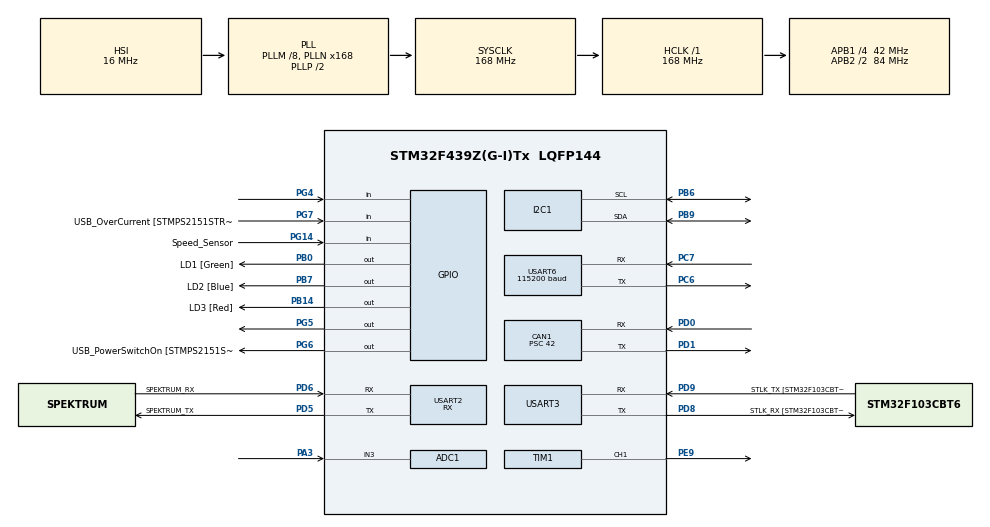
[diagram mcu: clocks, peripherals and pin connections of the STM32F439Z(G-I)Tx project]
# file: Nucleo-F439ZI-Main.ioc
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ADC1.Channel-3\#ChannelRegularConversion=ADC_CHANNEL_3
ADC1.NbrOfConversionFlag=1
ADC1.Rank-3\#ChannelRegularConversion=1
ADC1.SamplingTime-3\#ChannelRegularConversion=ADC_SAMPLETIME_3CYCLES
ADC1.master=1
CAN1.ABOM=ENABLE
CAN1.AWUM=ENABLE
CAN1.BS1=CAN_BS1_11TQ
CAN1.BS2=CAN_BS2_8TQ
CAN1.CalculateBaudRate=50000
CAN1.CalculateTimeBit=20000
CAN1.CalculateTimeQuantum=1000.0
CAN1.NART=ENABLE
CAN1.Prescaler=42
CAN1.TTCM=DISABLE
Mcu.Family=STM32F4
Mcu.Name=STM32F439Z(G-I)Tx
Mcu.Package=LQFP144
NVIC.CAN1_RX0_IRQn=true\:0\:0\:false\:false\:true\:true\:true\:true
NVIC.CAN1_RX1_IRQn=true\:0\:0\:false\:false\:true\:true\:true\:true
NVIC.CAN1_SCE_IRQn=true\:0\:0\:false\:false\:true\:true\:true\:true
NVIC.CAN1_TX_IRQn=true\:0\:0\:false\:false\:true\:true\:true\:true
NVIC.PriorityGroup=NVIC_PRIORITYGROUP_4
NVIC.RCC_IRQn=true\:0\:0\:false\:false\:true\:true\:false\:true
NVIC.TIM1_TRG_COM_TIM11_IRQn=true\:0\:0\:false\:false\:true\:true\:true\:true
NVIC.TIM1_UP_TIM10_IRQn=true\:0\:0\:false\:false\:true\:true\:true\:true
NVIC.TIM6_DAC_IRQn=true\:0\:0\:false\:false\:true\:true\:true\:true
NVIC.TIM7_IRQn=true\:0\:0\:false\:false\:true\:true\:true\:true
NVIC.USART2_IRQn=true\:1\:0\:true\:false\:true\:true\:true\:true
NVIC.USART6_IRQn=true\:0\:0\:false\:false\:true\:true\:true\:true
PA1.GPIO_Label=RMII_REF_CLK [LAN8742A-CZ-TR_REFCLK0]
PA1.Signal=ETH_REF_CLK
PA10.GPIO_Label=USB_ID
PA10.Signal=USB_OTG_FS_ID
PA11.GPIO_Label=USB_DM
PA11.Signal=USB_OTG_FS_DM
PA12.GPIO_Label=USB_DP
PA12.Signal=USB_OTG_FS_DP
PA13.GPIO_Label=TMS
PA13.Mode=Serial_Wire
PA13.Signal=SYS_JTMS-SWDIO
PA14.GPIO_Label=TCK
PA14.Mode=Serial_Wire
PA14.Signal=SYS_JTCK-SWCLK
PA2.GPIO_Label=RMII_MDIO [LAN8742A-CZ-TR_MDIO]
PA2.Signal=ETH_MDIO
PA3.Signal=ADCx_IN3
PA7.GPIO_Label=RMII_CRS_DV [LAN8742A-CZ-TR_CRS_DV]
PA7.Signal=ETH_CRS_DV
PA8.GPIO_Label=USB_SOF [TP1]
PA8.Signal=USB_OTG_FS_SOF
PA9.GPIO_Label=USB_VBUS
PA9.Signal=USB_OTG_FS_VBUS
PB0.GPIO_Label=LD1 [Green]
PB0.Signal=GPIO_Output
PB13.GPIO_Label=RMII_TXD1 [LAN8742A-CZ-TR_TXD1]
PB13.Signal=ETH_TXD1
PB14.GPIO_Label=LD3 [Red]
PB14.Signal=GPIO_Output
PB6.Mode=I2C
PB6.Signal=I2C1_SCL
PB7.GPIO_Label=LD2 [Blue]
PB7.Signal=GPIO_Output
PB9.Mode=I2C
PB9.Signal=I2C1_SDA
PC1.GPIO_Label=RMII_MDC [LAN8742A-CZ-TR_MDC]
PC1.Signal=ETH_MDC
PC14/OSC32_IN.Mode=LSE-External-Oscillator
PC14/OSC32_IN.Signal=RCC_OSC32_IN
PC15/OSC32_OUT.Mode=LSE-External-Oscillator
PC15/OSC32_OUT.Signal=RCC_OSC32_OUT
PC4.GPIO_Label=RMII_RXD0 [LAN8742A-CZ-TR_RXD0]
PC4.Signal=ETH_RXD0
PC5.GPIO_Label=RMII_RXD1 [LAN8742A-CZ-TR_RXD1]
PC5.Signal=ETH_RXD1
PC6.Mode=Asynchronous
PC6.Signal=USART6_TX
PC7.Mode=Asynchronous
PC7.Signal=USART6_RX
PD0.Mode=CAN_Activate
PD0.Signal=CAN1_RX
PD1.Mode=CAN_Activate
PD1.Signal=CAN1_TX
PD5.GPIO_Label=SPEKTRUM_TX
PD5.Mode=Asynchronous
PD5.Signal=USART2_TX
PD6.GPIO_Label=SPEKTRUM_RX
PD6.Mode=Asynchronous
PD6.Signal=USART2_RX
PD8.GPIO_Label=STLK_RX [STM32F103CBT6_PA3]
PD8.Mode=Asynchronous
PD8.Signal=USART3_TX
PD9.GPIO_Label=STLK_TX [STM32F103CBT6_PA2]
PD9.Mode=Asynchronous
PD9.Signal=USART3_RX
PE9.Signal=S_TIM1_CH1
PG11.GPIO_Label=RMII_TX_EN [LAN8742A-CZ-TR_TXEN]
PG11.Signal=ETH_TX_EN
PG13.GPIO_Label=RMII_TXD0 [LAN8742A-CZ-TR_TXD0]
PG13.Signal=ETH_TXD0
PG14.GPIO_Label=Speed_Sensor
PG14.Signal=GPIO_Input
PG4.Signal=GPIO_Input
PG5.Signal=GPIO_Output
PG6.GPIO_Label=USB_PowerSwitchOn [STMPS2151STR_EN]
PG6.Signal=GPIO_Output
PG7.GPIO_Label=USB_OverCurrent [STMPS2151STR_FAULT]
PG7.Signal=GPIO_Input
PH0/OSC_IN.GPIO_Label=MCO [STM32F103CBT6_PA8]
PH0/OSC_IN.Mode=HSE-External-Clock-Source
PH0/OSC_IN.Signal=RCC_OSC_IN
PH1/OSC_OUT.Mode=HSE-External-Clock-Source
PH1/OSC_OUT.Signal=RCC_OSC_OUT
ProjectManager.HeapSize=0x200
ProjectManager.StackSize=0x400
ProjectManager.TargetToolchain=STM32CubeIDE
RCC.48MHZClocksFreq_Value=48000000
RCC.AHBFreq_Value=168000000
RCC.APB1CLKDivider=RCC_HCLK_DIV4
RCC.APB1Freq_Value=42000000
RCC.APB1TimFreq_Value=84000000
RCC.APB2CLKDivider=RCC_HCLK_DIV2
RCC.APB2Freq_Value=84000000
RCC.APB2TimFreq_Value=168000000
RCC.CortexFreq_Value=168000000
RCC.HCLKFreq_Value=168000000
RCC.HSE_VALUE=8000000
RCC.HSI_VALUE=16000000
RCC.PLLM=8
RCC.PLLMUL=RCC_PLL_MUL9
RCC.PLLN=168
RCC.PLLQ=7
RCC.PRESCALERUSB=RCC_USBCLKSOURCE_PLL_DIV1_5
RCC.SYSCLKFreq_VALUE=168000000
RCC.SYSCLKSource=RCC_SYSCLKSOURCE_PLLCLK
RCC.SYSCLKSourceVirtual=RCC_SYSCLKSOURCE_PLLCLK
RCC.USBFreq_Value=48000000
RCC.VCOOutputFreq_Value=336000000
SH.ADCx_IN3.0=ADC1_IN3,IN3
SH.S_TIM1_CH1.0=TIM1_CH1,PWM Generation1 CH1
TIM1.Channel-PWM\ Generation1\ CH1=TIM_CHANNEL_1
TIM1.Period=200-1
TIM1.Prescaler=3*168-1
TIM10.Period=50000
TIM10.Prescaler=336-1
TIM11.Period=25000
TIM11.Prescaler=1344-1
TIM6.AutoReloadPreload=TIM_AUTORELOAD_PRELOAD_DISABLE
TIM6.Period=25000
TIM6.Prescaler=168-1
TIM7.Period=25000
TIM7.Prescaler=168-1
USART2.Mode=MODE_RX
USART2.VirtualMode=VM_ASYNC
USART3.VirtualMode=VM_ASYNC
USART6.BaudRate=115200
USART6.VirtualMode=VM_ASYNC
VP_TIM10_VS_ClockSourceINT.Mode=Enable_Timer
VP_TIM11_VS_ClockSourceINT.Mode=Enable_Timer
VP_TIM6_VS_ClockSourceINT.Mode=Enable_Timer
VP_TIM7_VS_ClockSourceINT.Mode=Enable_Timer
board=NUCLEO-F439ZI

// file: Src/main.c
/* USER CODE BEGIN Header */
/**
  ******************************************************************************
  * @file           : main.c
  * @brief          : Main program body
  ******************************************************************************
  * @attention
  *
  * Copyright (c) 2022 STMicroelectronics.
  * All rights reserved.
  *
  * This software is licensed under terms that can be found in the LICENSE file
  * in the root directory of this software component.
  * If no LICENSE file comes with this software, it is provided AS-IS.
  *
  ******************************************************************************
  */
/* USER CODE END Header */
#include "main.h"

/* USER CODE BEGIN Includes */
#include "app.h"
#include "uart_serial.h"

/* USER CODE END Includes */

/* USER CODE BEGIN PD */

void compute_auto_brake();

/* USER CODE END PD */

ADC_HandleTypeDef hadc1;

CAN_HandleTypeDef hcan1;

I2C_HandleTypeDef hi2c1;

TIM_HandleTypeDef htim1;
TIM_HandleTypeDef htim6;
TIM_HandleTypeDef htim7;
TIM_HandleTypeDef htim10;
TIM_HandleTypeDef htim11;

UART_HandleTypeDef huart2;
UART_HandleTypeDef huart3;
UART_HandleTypeDef huart6;

/* USER CODE BEGIN PV */
int gokart_mode = 0;
int motor_direction = 0;

float throttle_desired = 0.0;

float speed_measured = 0.0;
float speed_desired = 0.0;

float steer_desired = 0.0;
float steer_measured = 0.0;
float steer_max = 55.0;

float steering_wheel = 0.0;

float brake_desired = 0.0;
float brake_measured = 0.0;
float brake_max = 150.0;

app_state_t app;
app_state_t *main_app;

CAN_TxHeaderTypeDef TxHeader;
CAN_RxHeaderTypeDef RxHeader;

uint32_t TxMailbox;

uint8_t CAN_TxData[6];
uint8_t CAN_RxData[6];

//char UART_TxData[6];

/* USER CODE END PV */

void SystemClock_Config(void);
static void MX_GPIO_Init(void);
static void MX_USART3_UART_Init(void);
static void MX_USART2_UART_Init(void);
static void MX_TIM1_Init(void);
static void MX_CAN1_Init(void);
static void MX_ADC1_Init(void);
static void MX_USART6_UART_Init(void);
static void MX_TIM6_Init(void);
static void MX_I2C1_Init(void);
static void MX_TIM7_Init(void);
static void MX_TIM10_Init(void);
static void MX_TIM11_Init(void);

/* USER CODE BEGIN 0 */

int Debug_UART_Get_Byte() {
	if (__HAL_UART_GET_FLAG(&huart3, UART_FLAG_RXNE) == SET) {
		return (uint8_t) (huart3.Instance->DR & (uint8_t) 0x00FF);
	}
	return -1;
}

// This function merges array a, b, c into array d in sequence (no sort)
void mergearray(char a[], char b[], char c[], char d[], int arr1size, int arr2size, int arr3size)
{
    // resultant Array Size Declaration
    int i, j;

    // copying array 1 elements in to c array
    for (i = 0; i < arr1size; i++) {
    	d[i] = a[i];
    }

    // copying array 2 elements in to c array
    for (i = 0, j = arr1size;
         j < arr1size + arr2size && i < arr2size; i++, j++) {
        d[j] = b[i];
    }

    // copying array 3 elements in to c array
    for (i = 0, j = arr1size + arr2size;
         j < arr1size + arr2size + arr3size && i < arr3size; i++, j++) {
        d[j] = c[i];
    }
}

void send_gokart_info(float steer, float speed, int is_info){
	char data[6];
	char info_steer[13];
	char info_speed[13];
	char info_type[9];
	char info_out[35];

	sprintf(data, "%.2f", steer / 180.0 * 3.14);
	mergearray("steer ", data, " ", info_steer, 6, 6, 1);

	sprintf(data, "%.2f", speed);
	mergearray("speed ", data, " ", info_speed, 6, 6, 1);

	if (is_info == 0){
		mergearray("type ", "cmmd", "", info_type, 5, 4, 0);
	} else{
		mergearray("type ", "info", "", info_type, 5, 4, 0);
	}

	mergearray(info_steer, info_speed, info_type, info_out, 13, 13, 9);

	HAL_UART_Transmit(&huart6, info_out, sizeof(info_out), 10); // Sending in normal mode
}

void handle_remote_command(){
	float acc_percent = app.acc_percent;
	float gear_shift = app.gokart_status;
	float steer_percent = app.steer_percent;

	if(acc_percent > 0.00){
		throttle_desired = acc_percent * 100.0;
		brake_desired = 0.0;
	} else{
		throttle_desired = 0.0;
		brake_desired = -acc_percent * brake_max;
	}

	if (gear_shift == 0){
		motor_direction = 0;
	} else{
		motor_direction = 1;
	}

	steer_desired = steer_percent * steer_max;
}

void handle_autonomous_command(){
	uint8_t place_holder[10];
	sscanf(drive_msg, "%s %f %s %f", place_holder, &steer_desired, place_holder, &speed_desired);

	compute_auto_brake();
}

void handle_manual_command(){
	steer_desired = steering_wheel;
}

void compute_auto_brake(){
	float speed_error = speed_desired - speed_measured;

	if (speed_error < -1.5){
		brake_desired = (-speed_error - 1.5) * brake_max / 2;
	} else{
		brake_desired = 0.0;
	}
}

void cast_command(){
	if(steer_desired > steer_max){
		steer_desired = steer_max;
	} else if (steer_desired < -steer_max){
		steer_desired = -steer_max;
	}

	if (brake_desired > brake_max){
		brake_desired = brake_max;
	} else if (brake_desired < 0.0){
		brake_desired = 0.0;
	}

	if (throttle_desired > 100.0){
		throttle_desired = 100.0;
	} else if (throttle_desired < 0.0){
		throttle_desired = 0.0;
	}
}

void send_command(){
	// Send CANBus command
	CAN_TxData[0] = (int)(steer_desired + steer_max);
	CAN_TxData[1] = (int)(brake_desired);
	CAN_TxData[2] = (int)(throttle_desired);
	CAN_TxData[3] = (int)(motor_direction);

    HAL_CAN_AddTxMessage(&hcan1, &TxHeader, CAN_TxData, &TxMailbox);
}

void print_info(){
	if (gokart_mode == 0){
		printf("mode: remote \r\n");
	} else if (gokart_mode == 1){
		printf("mode: autonomous \r\n");
	} else if (gokart_mode == 2){
		printf("mode: manual \r\n");
	}

	if (motor_direction == 0){
		printf("motor_direction: reverse \r\n\n");
	} else{
		printf("motor_direction: forward \r\n");
	}

	printf("throttle desired %.2f \r\n\n", throttle_desired);
	printf("steer desired %.2f ", steer_desired);
	printf("steer measured %.2f \r\n", steer_measured);
	printf("brake desired %.2f ", brake_desired);
	printf("brake measured %.2f \r\n", brake_measured);
	printf("speed desired %.2f  ", speed_desired);
	printf("speed measured %.2f \r\n", speed_measured);
	printf("\r\n");
}

void HAL_CAN_RxFifo0MsgPendingCallback(CAN_HandleTypeDef *hcan1)
{
  if (HAL_CAN_GetRxMessage(hcan1, CAN_RX_FIFO0, &RxHeader, CAN_RxData) != HAL_OK)
  {
	  Error_Handler();
  }

  if (RxHeader.StdId == 0x101)
  {
	  speed_measured = CAN_RxData[0] / 10.0;
  }

  if (RxHeader.StdId == 0x102)
  {
	  brake_measured = CAN_RxData[0];
  }

  if (RxHeader.StdId == 0x103)
  {
	  steer_measured = CAN_RxData[0] - steer_max;
  }

  if (RxHeader.StdId == 0x104)
  {
	  steering_wheel = CAN_RxData[0] - steer_max;
  }
}

void HAL_TIM_PeriodElapsedCallback(TIM_HandleTypeDef *htim) {
	// 40Hz - 25ms handle gokart command and send to subsystems
	if (htim == &htim6) {
		gokart_mode = app.control_mode;

		if (gokart_mode == 0){
			handle_remote_command();
		} else if (gokart_mode == 1){
			handle_autonomous_command();
		} else if (gokart_mode == 2){
			handle_manual_command();
		}

		cast_command();
		send_command();
	}

	// 40Hz - 25ms send out gokart drive info to higher level device
	if (htim == &htim7){
		 // the current gokart drive state information
	     send_gokart_info(steer_measured, speed_measured, 1);
	}

	// 10Hz - 100ms send out gokart drive command to higher level device
	if(htim == &htim10){
	    send_gokart_info(steer_desired, speed_desired, 0);
	}

	// 5Hz - 200ms print gokart info
	if (htim == &htim11){
		 print_info();
	}
}

/* USER CODE END 0 */

int main(void)
{

  /* MCU Configuration--------------------------------------------------------*/

  /* Reset of all peripherals, Initializes the Flash interface and the Systick. */
  HAL_Init();

  /* Configure the system clock */
  SystemClock_Config();

  /* Initialize all configured peripherals */
  MX_GPIO_Init();
  MX_USART3_UART_Init();
  MX_USART2_UART_Init();
  MX_TIM1_Init();
  MX_CAN1_Init();
  MX_ADC1_Init();
  MX_USART6_UART_Init();
  MX_TIM6_Init();
  MX_I2C1_Init();
  MX_TIM7_Init();
  MX_TIM10_Init();
  MX_TIM11_Init();
  /* USER CODE BEGIN 2 */

  main_app = &app;
  app_run(&app);

  /* USER CODE END 2 */

  /* Infinite loop */
  while (1)
  {
  }

}

void SystemClock_Config(void)
{
  RCC_OscInitTypeDef RCC_OscInitStruct = {0};
  RCC_ClkInitTypeDef RCC_ClkInitStruct = {0};

  /** Configure the main internal regulator output voltage
  */
  __HAL_RCC_PWR_CLK_ENABLE();
  __HAL_PWR_VOLTAGESCALING_CONFIG(PWR_REGULATOR_VOLTAGE_SCALE1);

  /** Initializes the RCC Oscillators according to the specified parameters
  * in the RCC_OscInitTypeDef structure.
  */
  RCC_OscInitStruct.OscillatorType = RCC_OSCILLATORTYPE_HSI;
  RCC_OscInitStruct.HSIState = RCC_HSI_ON;
  RCC_OscInitStruct.HSICalibrationValue = RCC_HSICALIBRATION_DEFAULT;
  RCC_OscInitStruct.PLL.PLLState = RCC_PLL_ON;
  RCC_OscInitStruct.PLL.PLLSource = RCC_PLLSOURCE_HSI;
  RCC_OscInitStruct.PLL.PLLM = 8;
  RCC_OscInitStruct.PLL.PLLN = 168;
  RCC_OscInitStruct.PLL.PLLP = RCC_PLLP_DIV2;
  RCC_OscInitStruct.PLL.PLLQ = 7;
  if (HAL_RCC_OscConfig(&RCC_OscInitStruct) != HAL_OK)
  {
    Error_Handler();
  }

  /** Initializes the CPU, AHB and APB buses clocks
  */
  RCC_ClkInitStruct.ClockType = RCC_CLOCKTYPE_HCLK|RCC_CLOCKTYPE_SYSCLK
                              |RCC_CLOCKTYPE_PCLK1|RCC_CLOCKTYPE_PCLK2;
  RCC_ClkInitStruct.SYSCLKSource = RCC_SYSCLKSOURCE_PLLCLK;
  RCC_ClkInitStruct.AHBCLKDivider = RCC_SYSCLK_DIV1;
  RCC_ClkInitStruct.APB1CLKDivider = RCC_HCLK_DIV4;
  RCC_ClkInitStruct.APB2CLKDivider = RCC_HCLK_DIV2;

  if (HAL_RCC_ClockConfig(&RCC_ClkInitStruct, FLASH_LATENCY_5) != HAL_OK)
  {
    Error_Handler();
  }
}

static void MX_ADC1_Init(void)
{

  ADC_ChannelConfTypeDef sConfig = {0};

  /** Configure the global features of the ADC (Clock, Resolution, Data Alignment and number of conversion)
  */
  hadc1.Instance = ADC1;
  hadc1.Init.ClockPrescaler = ADC_CLOCK_SYNC_PCLK_DIV4;
  hadc1.Init.Resolution = ADC_RESOLUTION_12B;
  hadc1.Init.ScanConvMode = DISABLE;
  hadc1.Init.ContinuousConvMode = DISABLE;
  hadc1.Init.DiscontinuousConvMode = DISABLE;
  hadc1.Init.ExternalTrigConvEdge = ADC_EXTERNALTRIGCONVEDGE_NONE;
  hadc1.Init.ExternalTrigConv = ADC_SOFTWARE_START;
  hadc1.Init.DataAlign = ADC_DATAALIGN_RIGHT;
  hadc1.Init.NbrOfConversion = 1;
  hadc1.Init.DMAContinuousRequests = DISABLE;
  hadc1.Init.EOCSelection = ADC_EOC_SINGLE_CONV;
  if (HAL_ADC_Init(&hadc1) != HAL_OK)
  {
    Error_Handler();
  }

  /** Configure for the selected ADC regular channel its corresponding rank in the sequencer and its sample time.
  */
  sConfig.Channel = ADC_CHANNEL_3;
  sConfig.Rank = 1;
  sConfig.SamplingTime = ADC_SAMPLETIME_3CYCLES;
  if (HAL_ADC_ConfigChannel(&hadc1, &sConfig) != HAL_OK)
  {
    Error_Handler();
  }

}

static void MX_CAN1_Init(void)
{

  /* USER CODE BEGIN CAN1_Init 0 */
  TxHeader.DLC = 4;
  TxHeader.ExtId = 0;
  TxHeader.IDE = CAN_ID_STD;
  TxHeader.RTR = CAN_RTR_DATA;
  TxHeader.StdId = 0x100;
  TxHeader.TransmitGlobalTime = DISABLE;

  /* USER CODE END CAN1_Init 0 */

  hcan1.Instance = CAN1;
  hcan1.Init.Prescaler = 42;
  hcan1.Init.Mode = CAN_MODE_NORMAL;
  hcan1.Init.SyncJumpWidth = CAN_SJW_1TQ;
  hcan1.Init.TimeSeg1 = CAN_BS1_11TQ;
  hcan1.Init.TimeSeg2 = CAN_BS2_8TQ;
  hcan1.Init.TimeTriggeredMode = DISABLE;
  hcan1.Init.AutoBusOff = ENABLE;
  hcan1.Init.AutoWakeUp = ENABLE;
  hcan1.Init.AutoRetransmission = ENABLE;
  hcan1.Init.ReceiveFifoLocked = DISABLE;
  hcan1.Init.TransmitFifoPriority = DISABLE;
  if (HAL_CAN_Init(&hcan1) != HAL_OK)
  {
    Error_Handler();
  }
  /* USER CODE BEGIN CAN1_Init 2 */

  CAN_FilterTypeDef canfilterconfig;

  canfilterconfig.FilterActivation = CAN_FILTER_ENABLE;
  canfilterconfig.FilterBank = 10;
  canfilterconfig.FilterFIFOAssignment = CAN_RX_FIFO0;
  canfilterconfig.FilterIdHigh = 0;
  canfilterconfig.FilterIdLow = 0x0000;
  canfilterconfig.FilterMaskIdHigh = 0;
  canfilterconfig.FilterMaskIdLow = 0x0000;
  canfilterconfig.FilterMode = CAN_FILTERMODE_IDMASK;
  canfilterconfig.FilterScale = CAN_FILTERSCALE_32BIT;
  canfilterconfig.SlaveStartFilterBank = 0;

  HAL_CAN_ConfigFilter(&hcan1, &canfilterconfig);
  HAL_CAN_Start(&hcan1);
  HAL_CAN_ActivateNotification(&hcan1, CAN_IT_RX_FIFO0_MSG_PENDING);

  /* USER CODE END CAN1_Init 2 */

}

static void MX_I2C1_Init(void)
{

  hi2c1.Instance = I2C1;
  hi2c1.Init.ClockSpeed = 100000;
  hi2c1.Init.DutyCycle = I2C_DUTYCYCLE_2;
  hi2c1.Init.OwnAddress1 = 0;
  hi2c1.Init.AddressingMode = I2C_ADDRESSINGMODE_7BIT;
  hi2c1.Init.DualAddressMode = I2C_DUALADDRESS_DISABLE;
  hi2c1.Init.OwnAddress2 = 0;
  hi2c1.Init.GeneralCallMode = I2C_GENERALCALL_DISABLE;
  hi2c1.Init.NoStretchMode = I2C_NOSTRETCH_DISABLE;
  if (HAL_I2C_Init(&hi2c1) != HAL_OK)
  {
    Error_Handler();
  }

  /** Configure Analogue filter
  */
  if (HAL_I2CEx_ConfigAnalogFilter(&hi2c1, I2C_ANALOGFILTER_ENABLE) != HAL_OK)
  {
    Error_Handler();
  }

  /** Configure Digital filter
  */
  if (HAL_I2CEx_ConfigDigitalFilter(&hi2c1, 0) != HAL_OK)
  {
    Error_Handler();
  }

}

static void MX_TIM1_Init(void)
{

  TIM_MasterConfigTypeDef sMasterConfig = {0};
  TIM_OC_InitTypeDef sConfigOC = {0};
  TIM_BreakDeadTimeConfigTypeDef sBreakDeadTimeConfig = {0};

  htim1.Instance = TIM1;
  htim1.Init.Prescaler = 3*168-1;
  htim1.Init.CounterMode = TIM_COUNTERMODE_UP;
  htim1.Init.Period = 200-1;
  htim1.Init.ClockDivision = TIM_CLOCKDIVISION_DIV1;
  htim1.Init.RepetitionCounter = 0;
  htim1.Init.AutoReloadPreload = TIM_AUTORELOAD_PRELOAD_DISABLE;
  if (HAL_TIM_PWM_Init(&htim1) != HAL_OK)
  {
    Error_Handler();
  }
  sMasterConfig.MasterOutputTrigger = TIM_TRGO_RESET;
  sMasterConfig.MasterSlaveMode = TIM_MASTERSLAVEMODE_DISABLE;
  if (HAL_TIMEx_MasterConfigSynchronization(&htim1, &sMasterConfig) != HAL_OK)
  {
    Error_Handler();
  }
  sConfigOC.OCMode = TIM_OCMODE_PWM1;
  sConfigOC.Pulse = 0;
  sConfigOC.OCPolarity = TIM_OCPOLARITY_HIGH;
  sConfigOC.OCNPolarity = TIM_OCNPOLARITY_HIGH;
  sConfigOC.OCFastMode = TIM_OCFAST_DISABLE;
  sConfigOC.OCIdleState = TIM_OCIDLESTATE_RESET;
  sConfigOC.OCNIdleState = TIM_OCNIDLESTATE_RESET;
  if (HAL_TIM_PWM_ConfigChannel(&htim1, &sConfigOC, TIM_CHANNEL_1) != HAL_OK)
  {
    Error_Handler();
  }
  sBreakDeadTimeConfig.OffStateRunMode = TIM_OSSR_DISABLE;
  sBreakDeadTimeConfig.OffStateIDLEMode = TIM_OSSI_DISABLE;
  sBreakDeadTimeConfig.LockLevel = TIM_LOCKLEVEL_OFF;
  sBreakDeadTimeConfig.DeadTime = 0;
  sBreakDeadTimeConfig.BreakState = TIM_BREAK_DISABLE;
  sBreakDeadTimeConfig.BreakPolarity = TIM_BREAKPOLARITY_HIGH;
  sBreakDeadTimeConfig.AutomaticOutput = TIM_AUTOMATICOUTPUT_DISABLE;
  if (HAL_TIMEx_ConfigBreakDeadTime(&htim1, &sBreakDeadTimeConfig) != HAL_OK)
  {
    Error_Handler();
  }
  HAL_TIM_MspPostInit(&htim1);

}

static void MX_TIM6_Init(void)
{

  TIM_MasterConfigTypeDef sMasterConfig = {0};

  htim6.Instance = TIM6;
  htim6.Init.Prescaler = 168-1;
  htim6.Init.CounterMode = TIM_COUNTERMODE_UP;
  htim6.Init.Period = 25000;
  htim6.Init.AutoReloadPreload = TIM_AUTORELOAD_PRELOAD_DISABLE;
  if (HAL_TIM_Base_Init(&htim6) != HAL_OK)
  {
    Error_Handler();
  }
  sMasterConfig.MasterOutputTrigger = TIM_TRGO_RESET;
  sMasterConfig.MasterSlaveMode = TIM_MASTERSLAVEMODE_DISABLE;
  if (HAL_TIMEx_MasterConfigSynchronization(&htim6, &sMasterConfig) != HAL_OK)
  {
    Error_Handler();
  }
  /* USER CODE BEGIN TIM6_Init 2 */
  HAL_TIM_Base_Start_IT(&htim6);
  /* USER CODE END TIM6_Init 2 */

}

static void MX_TIM7_Init(void)
{

  TIM_MasterConfigTypeDef sMasterConfig = {0};

  htim7.Instance = TIM7;
  htim7.Init.Prescaler = 168-1;
  htim7.Init.CounterMode = TIM_COUNTERMODE_UP;
  htim7.Init.Period = 25000;
  htim7.Init.AutoReloadPreload = TIM_AUTORELOAD_PRELOAD_DISABLE;
  if (HAL_TIM_Base_Init(&htim7) != HAL_OK)
  {
    Error_Handler();
  }
  sMasterConfig.MasterOutputTrigger = TIM_TRGO_RESET;
  sMasterConfig.MasterSlaveMode = TIM_MASTERSLAVEMODE_DISABLE;
  if (HAL_TIMEx_MasterConfigSynchronization(&htim7, &sMasterConfig) != HAL_OK)
  {
    Error_Handler();
  }
  /* USER CODE BEGIN TIM7_Init 2 */
  HAL_TIM_Base_Start_IT(&htim7);
  /* USER CODE END TIM7_Init 2 */

}

static void MX_TIM10_Init(void)
{

  htim10.Instance = TIM10;
  htim10.Init.Prescaler = 336-1;
  htim10.Init.CounterMode = TIM_COUNTERMODE_UP;
  htim10.Init.Period = 50000;
  htim10.Init.ClockDivision = TIM_CLOCKDIVISION_DIV1;
  htim10.Init.AutoReloadPreload = TIM_AUTORELOAD_PRELOAD_DISABLE;
  if (HAL_TIM_Base_Init(&htim10) != HAL_OK)
  {
    Error_Handler();
  }
  /* USER CODE BEGIN TIM10_Init 2 */
  HAL_TIM_Base_Start_IT(&htim10);
  /* USER CODE END TIM10_Init 2 */

}

static void MX_TIM11_Init(void)
{

  htim11.Instance = TIM11;
  htim11.Init.Prescaler = 1344-1;
  htim11.Init.CounterMode = TIM_COUNTERMODE_UP;
  htim11.Init.Period = 25000;
  htim11.Init.ClockDivision = TIM_CLOCKDIVISION_DIV1;
  htim11.Init.AutoReloadPreload = TIM_AUTORELOAD_PRELOAD_DISABLE;
  if (HAL_TIM_Base_Init(&htim11) != HAL_OK)
  {
    Error_Handler();
  }
  /* USER CODE BEGIN TIM11_Init 2 */
  HAL_TIM_Base_Start_IT(&htim11);
  /* USER CODE END TIM11_Init 2 */

}

static void MX_USART2_UART_Init(void)
{

  huart2.Instance = USART2;
  huart2.Init.BaudRate = 115200;
  huart2.Init.WordLength = UART_WORDLENGTH_8B;
  huart2.Init.StopBits = UART_STOPBITS_1;
  huart2.Init.Parity = UART_PARITY_NONE;
  huart2.Init.Mode = UART_MODE_RX;
  huart2.Init.HwFlowCtl = UART_HWCONTROL_NONE;
  huart2.Init.OverSampling = UART_OVERSAMPLING_16;
  if (HAL_UART_Init(&huart2) != HAL_OK)
  {
    Error_Handler();
  }

}

static void MX_USART3_UART_Init(void)
{

  huart3.Instance = USART3;
  huart3.Init.BaudRate = 115200;
  huart3.Init.WordLength = UART_WORDLENGTH_8B;
  huart3.Init.StopBits = UART_STOPBITS_1;
  huart3.Init.Parity = UART_PARITY_NONE;
  huart3.Init.Mode = UART_MODE_TX_RX;
  huart3.Init.HwFlowCtl = UART_HWCONTROL_NONE;
  huart3.Init.OverSampling = UART_OVERSAMPLING_16;
  if (HAL_UART_Init(&huart3) != HAL_OK)
  {
    Error_Handler();
  }

}

static void MX_USART6_UART_Init(void)
{

  huart6.Instance = USART6;
  huart6.Init.BaudRate = 115200;
  huart6.Init.WordLength = UART_WORDLENGTH_8B;
  huart6.Init.StopBits = UART_STOPBITS_1;
  huart6.Init.Parity = UART_PARITY_NONE;
  huart6.Init.Mode = UART_MODE_TX_RX;
  huart6.Init.HwFlowCtl = UART_HWCONTROL_NONE;
  huart6.Init.OverSampling = UART_OVERSAMPLING_16;
  if (HAL_UART_Init(&huart6) != HAL_OK)
  {
    Error_Handler();
  }
  /* USER CODE BEGIN USART6_Init 2 */
  uart_serial_start(&huart6);
  /* USER CODE END USART6_Init 2 */

}

static void MX_GPIO_Init(void)
{
  GPIO_InitTypeDef GPIO_InitStruct = {0};

  /* GPIO Ports Clock Enable */
  __HAL_RCC_GPIOC_CLK_ENABLE();
  __HAL_RCC_GPIOH_CLK_ENABLE();
  __HAL_RCC_GPIOA_CLK_ENABLE();
  __HAL_RCC_GPIOB_CLK_ENABLE();
  __HAL_RCC_GPIOE_CLK_ENABLE();
  __HAL_RCC_GPIOD_CLK_ENABLE();
  __HAL_RCC_GPIOG_CLK_ENABLE();

  /*Configure GPIO pin Output Level */
  HAL_GPIO_WritePin(GPIOB, LD1_Pin|LD3_Pin|LD2_Pin, GPIO_PIN_RESET);

  /*Configure GPIO pin Output Level */
  HAL_GPIO_WritePin(GPIOG, GPIO_PIN_5|USB_PowerSwitchOn_Pin, GPIO_PIN_RESET);

  /*Configure GPIO pins : RMII_MDC_Pin RMII_RXD0_Pin RMII_RXD1_Pin */
  GPIO_InitStruct.Pin = RMII_MDC_Pin|RMII_RXD0_Pin|RMII_RXD1_Pin;
  GPIO_InitStruct.Mode = GPIO_MODE_AF_PP;
  GPIO_InitStruct.Pull = GPIO_NOPULL;
  GPIO_InitStruct.Speed = GPIO_SPEED_FREQ_VERY_HIGH;
  GPIO_InitStruct.Alternate = GPIO_AF11_ETH;
  HAL_GPIO_Init(GPIOC, &GPIO_InitStruct);

  /*Configure GPIO pins : RMII_REF_CLK_Pin RMII_MDIO_Pin RMII_CRS_DV_Pin */
  GPIO_InitStruct.Pin = RMII_REF_CLK_Pin|RMII_MDIO_Pin|RMII_CRS_DV_Pin;
  GPIO_InitStruct.Mode = GPIO_MODE_AF_PP;
  GPIO_InitStruct.Pull = GPIO_NOPULL;
  GPIO_InitStruct.Speed = GPIO_SPEED_FREQ_VERY_HIGH;
  GPIO_InitStruct.Alternate = GPIO_AF11_ETH;
  HAL_GPIO_Init(GPIOA, &GPIO_InitStruct);

  /*Configure GPIO pins : LD1_Pin LD3_Pin LD2_Pin */
  GPIO_InitStruct.Pin = LD1_Pin|LD3_Pin|LD2_Pin;
  GPIO_InitStruct.Mode = GPIO_MODE_OUTPUT_PP;
  GPIO_InitStruct.Pull = GPIO_NOPULL;
  GPIO_InitStruct.Speed = GPIO_SPEED_FREQ_LOW;
  HAL_GPIO_Init(GPIOB, &GPIO_InitStruct);

  /*Configure GPIO pin : RMII_TXD1_Pin */
  GPIO_InitStruct.Pin = RMII_TXD1_Pin;
  GPIO_InitStruct.Mode = GPIO_MODE_AF_PP;
  GPIO_InitStruct.Pull = GPIO_NOPULL;
  GPIO_InitStruct.Speed = GPIO_SPEED_FREQ_VERY_HIGH;
  GPIO_InitStruct.Alternate = GPIO_AF11_ETH;
  HAL_GPIO_Init(RMII_TXD1_GPIO_Port, &GPIO_InitStruct);

  /*Configure GPIO pins : PG4 USB_OverCurrent_Pin Speed_Sensor_Pin */
  GPIO_InitStruct.Pin = GPIO_PIN_4|USB_OverCurrent_Pin|Speed_Sensor_Pin;
  GPIO_InitStruct.Mode = GPIO_MODE_INPUT;
  GPIO_InitStruct.Pull = GPIO_NOPULL;
  HAL_GPIO_Init(GPIOG, &GPIO_InitStruct);

  /*Configure GPIO pins : PG5 USB_PowerSwitchOn_Pin */
  GPIO_InitStruct.Pin = GPIO_PIN_5|USB_PowerSwitchOn_Pin;
  GPIO_InitStruct.Mode = GPIO_MODE_OUTPUT_PP;
  GPIO_InitStruct.Pull = GPIO_NOPULL;
  GPIO_InitStruct.Speed = GPIO_SPEED_FREQ_LOW;
  HAL_GPIO_Init(GPIOG, &GPIO_InitStruct);

  /*Configure GPIO pins : USB_SOF_Pin USB_ID_Pin USB_DM_Pin USB_DP_Pin */
  GPIO_InitStruct.Pin = USB_SOF_Pin|USB_ID_Pin|USB_DM_Pin|USB_DP_Pin;
  GPIO_InitStruct.Mode = GPIO_MODE_AF_PP;
  GPIO_InitStruct.Pull = GPIO_NOPULL;
  GPIO_InitStruct.Speed = GPIO_SPEED_FREQ_VERY_HIGH;
  GPIO_InitStruct.Alternate = GPIO_AF10_OTG_FS;
  HAL_GPIO_Init(GPIOA, &GPIO_InitStruct);

  /*Configure GPIO pin : USB_VBUS_Pin */
  GPIO_InitStruct.Pin = USB_VBUS_Pin;
  GPIO_InitStruct.Mode = GPIO_MODE_INPUT;
  GPIO_InitStruct.Pull = GPIO_NOPULL;
  HAL_GPIO_Init(USB_VBUS_GPIO_Port, &GPIO_InitStruct);

  /*Configure GPIO pins : RMII_TX_EN_Pin RMII_TXD0_Pin */
  GPIO_InitStruct.Pin = RMII_TX_EN_Pin|RMII_TXD0_Pin;
  GPIO_InitStruct.Mode = GPIO_MODE_AF_PP;
  GPIO_InitStruct.Pull = GPIO_NOPULL;
  GPIO_InitStruct.Speed = GPIO_SPEED_FREQ_VERY_HIGH;
  GPIO_InitStruct.Alternate = GPIO_AF11_ETH;
  HAL_GPIO_Init(GPIOG, &GPIO_InitStruct);

}

void Error_Handler(void)
{
  /* USER CODE BEGIN Error_Handler_Debug */
	/* User can add his own implementation to report the HAL error return state */
	__disable_irq();
	HAL_GPIO_WritePin(LD1_GPIO_Port, LD1_Pin, GPIO_PIN_SET);
	HAL_GPIO_WritePin(LD2_GPIO_Port, LD2_Pin, GPIO_PIN_SET);
	HAL_GPIO_WritePin(LD3_GPIO_Port, LD3_Pin, GPIO_PIN_SET);

	HAL_Delay(500);

	HAL_GPIO_WritePin(LD1_GPIO_Port, LD1_Pin, GPIO_PIN_RESET);
	HAL_GPIO_WritePin(LD2_GPIO_Port, LD2_Pin, GPIO_PIN_RESET);
	HAL_GPIO_WritePin(LD3_GPIO_Port, LD3_Pin, GPIO_PIN_RESET);

	HAL_Delay(500);
//	while (1) {
//	}
  /* USER CODE END Error_Handler_Debug */
}
